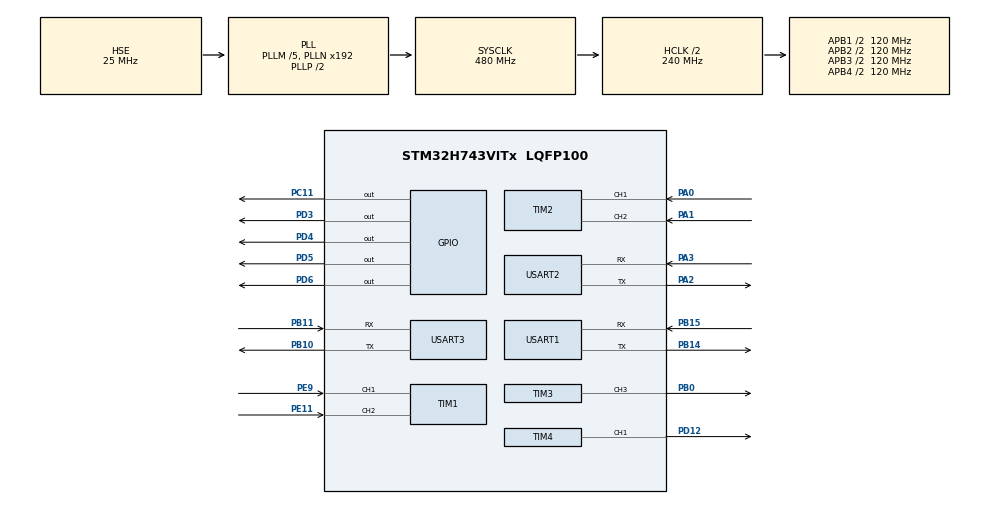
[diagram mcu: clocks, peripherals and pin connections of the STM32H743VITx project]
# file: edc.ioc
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CORTEX_M7.AccessPermission-Cortex_Memory_Protection_Unit_Region0_Settings=MPU_REGION_FULL_ACCESS
CORTEX_M7.AccessPermission-Cortex_Memory_Protection_Unit_Region1_Settings=MPU_REGION_FULL_ACCESS
CORTEX_M7.AccessPermission-Cortex_Memory_Protection_Unit_Region2_Settings=MPU_REGION_FULL_ACCESS
CORTEX_M7.AccessPermission-Cortex_Memory_Protection_Unit_Region3_Settings=MPU_REGION_FULL_ACCESS
CORTEX_M7.AccessPermission-Cortex_Memory_Protection_Unit_Region4_Settings=MPU_REGION_FULL_ACCESS
CORTEX_M7.BaseAddress-Cortex_Memory_Protection_Unit_Region0_Settings=0x24000000
CORTEX_M7.BaseAddress-Cortex_Memory_Protection_Unit_Region1_Settings=0x30000000
CORTEX_M7.BaseAddress-Cortex_Memory_Protection_Unit_Region2_Settings=0x30020000
CORTEX_M7.BaseAddress-Cortex_Memory_Protection_Unit_Region3_Settings=0x30040000
CORTEX_M7.BaseAddress-Cortex_Memory_Protection_Unit_Region4_Settings=0x38000000
CORTEX_M7.CPU_DCache=Enabled
CORTEX_M7.CPU_ICache=Enabled
CORTEX_M7.Enable-Cortex_Memory_Protection_Unit_Region0_Settings=MPU_REGION_ENABLE
CORTEX_M7.Enable-Cortex_Memory_Protection_Unit_Region1_Settings=MPU_REGION_ENABLE
CORTEX_M7.Enable-Cortex_Memory_Protection_Unit_Region2_Settings=MPU_REGION_ENABLE
CORTEX_M7.Enable-Cortex_Memory_Protection_Unit_Region3_Settings=MPU_REGION_ENABLE
CORTEX_M7.Enable-Cortex_Memory_Protection_Unit_Region4_Settings=MPU_REGION_ENABLE
CORTEX_M7.IsBufferable-Cortex_Memory_Protection_Unit_Region0_Settings=MPU_ACCESS_BUFFERABLE
CORTEX_M7.IsCacheable-Cortex_Memory_Protection_Unit_Region0_Settings=MPU_ACCESS_CACHEABLE
CORTEX_M7.MPU_Control=MPU_PRIVILEGED_DEFAULT
CORTEX_M7.Size-Cortex_Memory_Protection_Unit_Region0_Settings=MPU_REGION_SIZE_512KB
CORTEX_M7.Size-Cortex_Memory_Protection_Unit_Region1_Settings=MPU_REGION_SIZE_128KB
CORTEX_M7.Size-Cortex_Memory_Protection_Unit_Region2_Settings=MPU_REGION_SIZE_128KB
CORTEX_M7.Size-Cortex_Memory_Protection_Unit_Region3_Settings=MPU_REGION_SIZE_32KB
CORTEX_M7.Size-Cortex_Memory_Protection_Unit_Region4_Settings=MPU_REGION_SIZE_64KB
CORTEX_M7.TypeExtField-Cortex_Memory_Protection_Unit_Region0_Settings=MPU_TEX_LEVEL1
CORTEX_M7.TypeExtField-Cortex_Memory_Protection_Unit_Region1_Settings=MPU_TEX_LEVEL1
CORTEX_M7.TypeExtField-Cortex_Memory_Protection_Unit_Region2_Settings=MPU_TEX_LEVEL1
CORTEX_M7.TypeExtField-Cortex_Memory_Protection_Unit_Region3_Settings=MPU_TEX_LEVEL1
CORTEX_M7.TypeExtField-Cortex_Memory_Protection_Unit_Region4_Settings=MPU_TEX_LEVEL1
Mcu.Family=STM32H7
Mcu.Name=STM32H743VITx
Mcu.Package=LQFP100
NVIC.PriorityGroup=NVIC_PRIORITYGROUP_4
NVIC.TIM7_IRQn=true\:2\:0\:true\:false\:true\:true\:true\:true
NVIC.TIM8_UP_TIM13_IRQn=true\:1\:0\:true\:false\:true\:true\:true\:true
NVIC.USART3_IRQn=true\:0\:0\:true\:false\:true\:true\:true\:true
PA0.Signal=S_TIM2_CH1_ETR
PA1.Signal=S_TIM2_CH2
PA13\ (JTMS/SWDIO).Mode=Serial_Wire
PA13\ (JTMS/SWDIO).Signal=DEBUG_JTMS-SWDIO
PA14\ (JTCK/SWCLK).Mode=Serial_Wire
PA14\ (JTCK/SWCLK).Signal=DEBUG_JTCK-SWCLK
PA2.Mode=Asynchronous
PA2.Signal=USART2_TX
PA3.Mode=Asynchronous
PA3.Signal=USART2_RX
PB0.Signal=S_TIM3_CH3
PB10.Mode=Asynchronous
PB10.Signal=USART3_TX
PB11.Mode=Asynchronous
PB11.Signal=USART3_RX
PB14.Mode=Asynchronous
PB14.Signal=USART1_TX
PB15.Mode=Asynchronous
PB15.Signal=USART1_RX
PC11.GPIO_PuPd=GPIO_PULLDOWN
PC11.PinState=GPIO_PIN_RESET
PC11.Signal=GPIO_Output
PD12.Signal=S_TIM4_CH1
PD3.Signal=GPIO_Output
PD4.Signal=GPIO_Output
PD5.Signal=GPIO_Output
PD6.Signal=GPIO_Output
PE11.Signal=S_TIM1_CH2
PE9.Signal=S_TIM1_CH1
PH0-OSC_IN\ (PH0).Mode=HSE-External-Oscillator
PH0-OSC_IN\ (PH0).Signal=RCC_OSC_IN
PH1-OSC_OUT\ (PH1).Mode=HSE-External-Oscillator
PH1-OSC_OUT\ (PH1).Signal=RCC_OSC_OUT
ProjectManager.HeapSize=0x10000
ProjectManager.StackSize=0x7400
ProjectManager.TargetToolchain=MDK-ARM V5.32
RCC.ADCFreq_Value=50390625
RCC.APB1Freq_Value=120000000
RCC.APB2Freq_Value=120000000
RCC.APB3Freq_Value=120000000
RCC.APB4Freq_Value=120000000
RCC.CortexFreq_Value=480000000
RCC.D1PPRE=RCC_APB3_DIV2
RCC.D2PPRE1=RCC_APB1_DIV2
RCC.D2PPRE2=RCC_APB2_DIV2
RCC.D3PPRE=RCC_APB4_DIV2
RCC.DIVM1=5
RCC.DIVN1=192
RCC.HCLKFreq_Value=240000000
RCC.HPRE=RCC_HCLK_DIV2
RCC.PLLSourceVirtual=RCC_PLLSOURCE_HSE
RCC.ProductRev=revV
RCC.SYSCLKFreq_VALUE=480000000
RCC.SYSCLKSource=RCC_SYSCLKSOURCE_PLLCLK
RCC.USBFreq_Value=480000000
SH.S_TIM1_CH1.0=TIM1_CH1,Encoder_Interface
SH.S_TIM1_CH2.0=TIM1_CH2,Encoder_Interface
SH.S_TIM2_CH1_ETR.0=TIM2_CH1,Encoder_Interface
SH.S_TIM2_CH2.0=TIM2_CH2,Encoder_Interface
SH.S_TIM3_CH3.0=TIM3_CH3,PWM Generation3 CH3
SH.S_TIM4_CH1.0=TIM4_CH1,PWM Generation1 CH1
TIM1.IC1Filter=10
TIM13.AutoReloadPreload=TIM_AUTORELOAD_PRELOAD_DISABLE
TIM13.Period=50000-1
TIM13.Prescaler=2400-1
TIM2.IC1Filter=15
TIM2.IC2Filter=15
TIM3.Channel-PWM\ Generation3\ CH3=TIM_CHANNEL_3
TIM3.Period=1000-1
TIM3.Prescaler=24-1
TIM4.Channel-PWM\ Generation1\ CH1=TIM_CHANNEL_1
TIM4.Period=1000-1
TIM4.Prescaler=24-1
TIM4.Pulse-PWM\ Generation1\ CH1=500
TIM7.Prescaler=239
USART1.VirtualMode-Asynchronous=VM_ASYNC
USART2.VirtualMode-Asynchronous=VM_ASYNC
USART3.VirtualMode-Asynchronous=VM_ASYNC
VP_TIM13_VS_ClockSourceINT.Mode=Enable_Timer
VP_TIM3_VS_ClockSourceINT.Mode=Internal
VP_TIM4_VS_ClockSourceINT.Mode=Internal
VP_TIM7_VS_ClockSourceINT.Mode=Enable_Timer
board=custom

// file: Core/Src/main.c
/* USER CODE BEGIN Header */
/**
  ******************************************************************************
  * @file           : main.c
  * @brief          : Main program body
  ******************************************************************************
  * @attention
  *
  * Copyright (c) 2025 STMicroelectronics.
  * All rights reserved.
  *
  * This software is licensed under terms that can be found in the LICENSE file
  * in the root directory of this software component.
  * If no LICENSE file comes with this software, it is provided AS-IS.
  *
  ******************************************************************************
  */
/* USER CODE END Header */
#include "main.h"
#include "tim.h"
#include "usart.h"
#include "gpio.h"

/* USER CODE BEGIN Includes */
#include <string.h>
#include <stdio.h>
#include <stdbool.h>
#include "Mem.h"
#include "Hall_Encoder.h"
#include "tb6612fng.h"

#include "xunxian_delay.h"
#include "app_usart2.h"
/* USER CODE END Includes */

/* USER CODE BEGIN PTD */

//These are the value of the changing value between two sampling time point,
//meaningt that they are not the speed the value in real world.

/* USER CODE END PTD */

/* USER CODE BEGIN PV */
Mem l, r;
char message[100];
extern u8 g_new_package_flag;
uint8_t Rx2_Temp; // 用于接收USART2数据的临时变量
int straight_flag = 0; //用于判断是否已经检测到目标
Motor Left, Right;//Define the structures that control left motor and right motor
/* USER CODE END PV */

void SystemClock_Config(void);
static void MPU_Initialize(void);
static void MPU_Config(void);
/* USER CODE BEGIN PFP */
void lineWalking(void);
void enable_Buzzer(void);
/* USER CODE END PFP */

int main(void)
{

  /* Enable I-Cache---------------------------------------------------------*/
  SCB_EnableICache();

  /* Enable D-Cache---------------------------------------------------------*/
  SCB_EnableDCache();

  /* MCU Configuration--------------------------------------------------------*/

  /* Reset of all peripherals, Initializes the Flash interface and the Systick. */
  HAL_Init();

  /* MPU Configuration--------------------------------------------------------*/
  MPU_Config();

  /* Configure the system clock */
  SystemClock_Config();

  /* Initialize all configured peripherals */
  MX_GPIO_Init();
  MX_TIM7_Init();
  MX_USART1_UART_Init();
  MX_TIM1_Init();
  MX_TIM2_Init();
  MX_TIM4_Init();
  MX_TIM3_Init();
  MX_USART2_UART_Init();
  MX_USART3_UART_Init();
  MX_TIM13_Init();
  /* USER CODE BEGIN 2 */
	HAL_GPIO_WritePin(GPIOC, GPIO_PIN_11, GPIO_PIN_RESET);
	HAL_TIM_Base_Stop_IT(&htim13); // 停止TIM3定时器中断
	__HAL_TIM_SET_COUNTER(&htim13, 0);
	EncoderInit(&htim2, TIM_CHANNEL_1, TIM_CHANNEL_2, &htim7);
	EncoderInit(&htim1, TIM_CHANNEL_1, TIM_CHANNEL_2, &htim7);
	MotorInit(&Right, GPIOD, GPIO_PIN_3, GPIOD, GPIO_PIN_4,  &htim4, TIM_CHANNEL_1, 0);
	MotorInit(&Left, GPIOD, GPIO_PIN_5, GPIOD, GPIO_PIN_6,  &htim3, TIM_CHANNEL_3, 0);
	//Please goto tb6612fng.c and tb6612fng.h to see the usage and defination of motor functions and structure
	//While using this function,
	//please connect PD3 to AIN2, PD4 to AIN1, PD5 to BIN2, PD6 to BIN1,
	//PD12 to PWMA and PB0 to PWMB to make deriction right.
	MemInit(&l, 100, 1, &huart1);

	//等待红外稳定
	HAL_Delay(2000);
	//八路巡线器开始工作
	HAL_UART_Receive_IT(&huart3, &Rx2_Temp, 1);
	HAL_UART_Transmit(&huart3, (uint8_t *)"$0,0,1#", 7, HAL_MAX_DELAY);
	HAL_UART_Receive_IT(&huart3, &Rx2_Temp, 1);
  /* USER CODE END 2 */

  /* Infinite loop */
  /* USER CODE BEGIN WHILE */
  while (1)
  {
		/*MotorSet(FOR, 999, &Left);
		MotorSet(SLIDE, 999, &Right);
		MotorSet(BACK, 500, &Right);
		MotorSet(BREAK, 999, &Right); */

		if(g_new_package_flag == 1)
		{
			g_new_package_flag = 0;
			Deal_Usart_Data();
			//sprintf(message,"x1:%d,x2:%d,x3:%d,x4:%d,x5:%d,x6:%d,x7:%d,x8:%d\r\n",IR_Data_number[0],IR_Data_number[1],IR_Data_number[2],IR_Data_number[3],IR_Data_number[4],IR_Data_number[5],IR_Data_number[6],IR_Data_number[7]);
			//HAL_UART_Transmit(&huart1,(uint8_t *)message, strlen(message), HAL_MAX_DELAY);
			lineWalking();
		}
    /* USER CODE END WHILE */

    /* USER CODE BEGIN 3 */
  }
	MemOut(&l);
	destoryMem(&l);
  /* USER CODE END 3 */
}

void SystemClock_Config(void)
{
  RCC_OscInitTypeDef RCC_OscInitStruct = {0};
  RCC_ClkInitTypeDef RCC_ClkInitStruct = {0};

  /** Supply configuration update enable
  */
  HAL_PWREx_ConfigSupply(PWR_LDO_SUPPLY);

  /** Configure the main internal regulator output voltage
  */
  __HAL_PWR_VOLTAGESCALING_CONFIG(PWR_REGULATOR_VOLTAGE_SCALE1);

  while(!__HAL_PWR_GET_FLAG(PWR_FLAG_VOSRDY)) {}

  __HAL_RCC_SYSCFG_CLK_ENABLE();
  __HAL_PWR_VOLTAGESCALING_CONFIG(PWR_REGULATOR_VOLTAGE_SCALE0);

  while(!__HAL_PWR_GET_FLAG(PWR_FLAG_VOSRDY)) {}

  /** Initializes the RCC Oscillators according to the specified parameters
  * in the RCC_OscInitTypeDef structure.
  */
  RCC_OscInitStruct.OscillatorType = RCC_OSCILLATORTYPE_HSE;
  RCC_OscInitStruct.HSEState = RCC_HSE_ON;
  RCC_OscInitStruct.PLL.PLLState = RCC_PLL_ON;
  RCC_OscInitStruct.PLL.PLLSource = RCC_PLLSOURCE_HSE;
  RCC_OscInitStruct.PLL.PLLM = 5;
  RCC_OscInitStruct.PLL.PLLN = 192;
  RCC_OscInitStruct.PLL.PLLP = 2;
  RCC_OscInitStruct.PLL.PLLQ = 2;
  RCC_OscInitStruct.PLL.PLLR = 2;
  RCC_OscInitStruct.PLL.PLLRGE = RCC_PLL1VCIRANGE_2;
  RCC_OscInitStruct.PLL.PLLVCOSEL = RCC_PLL1VCOWIDE;
  RCC_OscInitStruct.PLL.PLLFRACN = 0;
  if (HAL_RCC_OscConfig(&RCC_OscInitStruct) != HAL_OK)
  {
    Error_Handler();
  }

  /** Initializes the CPU, AHB and APB buses clocks
  */
  RCC_ClkInitStruct.ClockType = RCC_CLOCKTYPE_HCLK|RCC_CLOCKTYPE_SYSCLK
                              |RCC_CLOCKTYPE_PCLK1|RCC_CLOCKTYPE_PCLK2
                              |RCC_CLOCKTYPE_D3PCLK1|RCC_CLOCKTYPE_D1PCLK1;
  RCC_ClkInitStruct.SYSCLKSource = RCC_SYSCLKSOURCE_PLLCLK;
  RCC_ClkInitStruct.SYSCLKDivider = RCC_SYSCLK_DIV1;
  RCC_ClkInitStruct.AHBCLKDivider = RCC_HCLK_DIV2;
  RCC_ClkInitStruct.APB3CLKDivider = RCC_APB3_DIV2;
  RCC_ClkInitStruct.APB1CLKDivider = RCC_APB1_DIV2;
  RCC_ClkInitStruct.APB2CLKDivider = RCC_APB2_DIV2;
  RCC_ClkInitStruct.APB4CLKDivider = RCC_APB4_DIV2;

  if (HAL_RCC_ClockConfig(&RCC_ClkInitStruct, FLASH_LATENCY_4) != HAL_OK)
  {
    Error_Handler();
  }
}

/* USER CODE BEGIN 4 */
// ...existing code...
double gr(void)
{
	return getSpeed(0);
}

void enable_Buzzer(void){
	HAL_TIM_Base_Stop_IT(&htim13); // 停止TIM3定时器中断
	 HAL_GPIO_WritePin(GPIOC, GPIO_PIN_11, GPIO_PIN_SET);
	__HAL_TIM_SET_COUNTER(&htim13, 0);
	 HAL_TIM_Base_Start_IT(&htim13);
}

void HAL_TIM_PeriodElapsedCallback(TIM_HandleTypeDef *htim)
{
	UpdateAllSpeed(htim);
	MemSet(&l, gr);

	if (htim->Instance == TIM13){
		 HAL_GPIO_WritePin(GPIOC, GPIO_PIN_11, GPIO_PIN_RESET);
		HAL_TIM_Base_Stop_IT(&htim13); // 停止TIM3定时器中断
	}
}

void HAL_UART_RxCpltCallback(UART_HandleTypeDef *huart)
{
    // 判断中断是否来自USART3
    if (huart->Instance == USART3)
    {
        // 此时，接收到的一个字节数据已经由HAL库自动存入了Rx2_Temp变量中
        // 调用您的数据处理函数
        Deal_IR_Usart(Rx2_Temp);

        // 【关键】必须再次调用HAL_UART_Receive_IT()函数，以准备下一次的数据接收
        HAL_UART_Receive_IT(&huart3, &Rx2_Temp, 1);
    }
}
// ...existing code...
/* USER CODE END 4 */

/* MPU Configuration */

void MPU_Config(void)
{
  MPU_Region_InitTypeDef MPU_InitStruct = {0};

  /* Disables the MPU */
  HAL_MPU_Disable();

  /** Initializes and configures the Region and the memory to be protected
  */
  MPU_InitStruct.Enable = MPU_REGION_ENABLE;
  MPU_InitStruct.Number = MPU_REGION_NUMBER0;
  MPU_InitStruct.BaseAddress = 0x24000000;
  MPU_InitStruct.Size = MPU_REGION_SIZE_512KB;
  MPU_InitStruct.SubRegionDisable = 0x0;
  MPU_InitStruct.TypeExtField = MPU_TEX_LEVEL1;
  MPU_InitStruct.AccessPermission = MPU_REGION_FULL_ACCESS;
  MPU_InitStruct.DisableExec = MPU_INSTRUCTION_ACCESS_ENABLE;
  MPU_InitStruct.IsShareable = MPU_ACCESS_NOT_SHAREABLE;
  MPU_InitStruct.IsCacheable = MPU_ACCESS_CACHEABLE;
  MPU_InitStruct.IsBufferable = MPU_ACCESS_BUFFERABLE;

  HAL_MPU_ConfigRegion(&MPU_InitStruct);

  /** Initializes and configures the Region and the memory to be protected
  */
  MPU_InitStruct.Number = MPU_REGION_NUMBER1;
  MPU_InitStruct.BaseAddress = 0x30000000;
  MPU_InitStruct.Size = MPU_REGION_SIZE_128KB;
  MPU_InitStruct.IsCacheable = MPU_ACCESS_NOT_CACHEABLE;
  MPU_InitStruct.IsBufferable = MPU_ACCESS_NOT_BUFFERABLE;

  HAL_MPU_ConfigRegion(&MPU_InitStruct);

  /** Initializes and configures the Region and the memory to be protected
  */
  MPU_InitStruct.Number = MPU_REGION_NUMBER2;
  MPU_InitStruct.BaseAddress = 0x30020000;

  HAL_MPU_ConfigRegion(&MPU_InitStruct);

  /** Initializes and configures the Region and the memory to be protected
  */
  MPU_InitStruct.Number = MPU_REGION_NUMBER3;
  MPU_InitStruct.BaseAddress = 0x30040000;
  MPU_InitStruct.Size = MPU_REGION_SIZE_32KB;

  HAL_MPU_ConfigRegion(&MPU_InitStruct);

  /** Initializes and configures the Region and the memory to be protected
  */
  MPU_InitStruct.Number = MPU_REGION_NUMBER4;
  MPU_InitStruct.BaseAddress = 0x38000000;
  MPU_InitStruct.Size = MPU_REGION_SIZE_64KB;

  HAL_MPU_ConfigRegion(&MPU_InitStruct);
  /* Enables the MPU */
  HAL_MPU_Enable(MPU_PRIVILEGED_DEFAULT);

}

void Error_Handler(void)
{
  __disable_irq();
  while (1)
  {
  }
}
